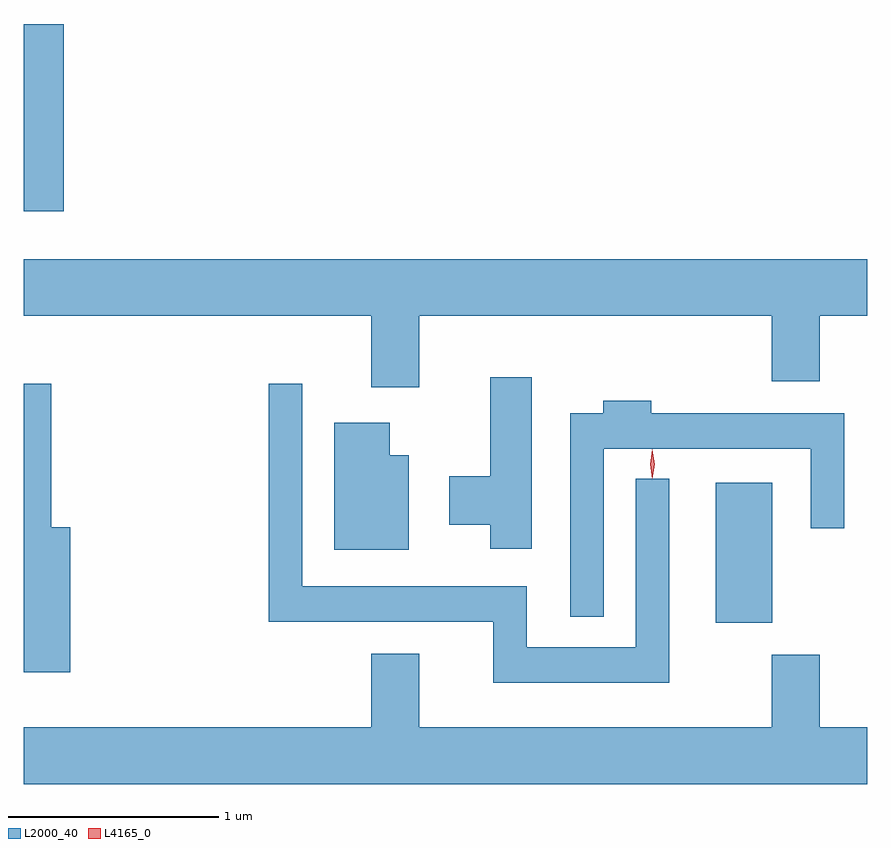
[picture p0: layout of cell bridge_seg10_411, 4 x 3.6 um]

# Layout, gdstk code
import gdstk
lib = gdstk.Library(unit=1e-6, precision=1e-09)
def R(c, l, rs):  # rectangles x0, y0, x1, y1
    for r in rs: c.add(gdstk.rectangle(r[:2], r[2:], *l))
def P(c, l, *ps):  # polygons
    for p in ps: c.add(gdstk.Polygon(p, *l))
L2000_40 = (2000, 40)
L4165_0 = (4165, 0)

bridge_seg10_411 = lib.new_cell('bridge_seg10_411')
R(bridge_seg10_411, L2000_40, [(1381.866,2092.481,1382.134,2093.144), (1378.584,2094.431,1378.774,2095.319)])
P(bridge_seg10_411, L2000_40, [(1380.459,2093.936),(1382.131,2093.936),(1382.131,2093.626),(1382.359,2093.626),(1382.359,2093.936),(1382.584,2093.936),(1382.584,2094.204),(1378.584,2094.204),(1378.584,2093.936),(1380.231,2093.936),(1380.231,2093.596),(1380.459,2093.596)],
  [(1380.994,2093.644),(1380.796,2093.644),(1380.796,2093.174),(1380.601,2093.174),(1380.601,2092.946),(1380.796,2092.946),(1380.796,2092.831),(1380.994,2092.831)],
  [(1381.644,2093.163),(1381.486,2093.163),(1381.486,2092.364),(1380.969,2092.364),(1380.969,2092.654),(1379.904,2092.654),(1379.904,2093.613),(1379.746,2093.613),(1379.746,2092.486),(1380.811,2092.486),(1380.811,2092.196),(1381.644,2092.196)],
  [(1378.804,2092.934),(1378.714,2092.934),(1378.714,2093.613),(1378.584,2093.613),(1378.584,2092.246),(1378.804,2092.246)],
  [(1381.334,2093.306),(1382.316,2093.306),(1382.316,2092.928),(1382.474,2092.928),(1382.474,2093.474),(1381.559,2093.474),(1381.559,2093.534),(1381.331,2093.534),(1381.331,2093.474),(1381.176,2093.474),(1381.176,2092.508),(1381.334,2092.508)],
  [(1380.409,2093.274),(1380.319,2093.274),(1380.319,2093.429),(1380.056,2093.429),(1380.056,2092.826),(1380.409,2092.826)],
  [(1382.584,2091.984),(1382.359,2091.984),(1382.359,2092.329),(1382.131,2092.329),(1382.131,2091.984),(1380.459,2091.984),(1380.459,2092.334),(1380.231,2092.334),(1380.231,2091.984),(1378.584,2091.984),(1378.584,2091.716),(1382.584,2091.716)])
P(bridge_seg10_411, L4165_0, [(1381.564,2093.164),(1381.555,2093.233),(1381.564,2093.301),(1381.564,2093.302),(1381.565,2093.301),(1381.575,2093.233),(1381.565,2093.164),(1381.565,2093.164)],
  [(1381.564,2093.167),(1381.555,2093.233),(1381.564,2093.299),(1381.565,2093.299),(1381.565,2093.299),(1381.575,2093.233),(1381.565,2093.167),(1381.565,2093.167)])

lib.write_gds('bridge_seg10_411.gds')
